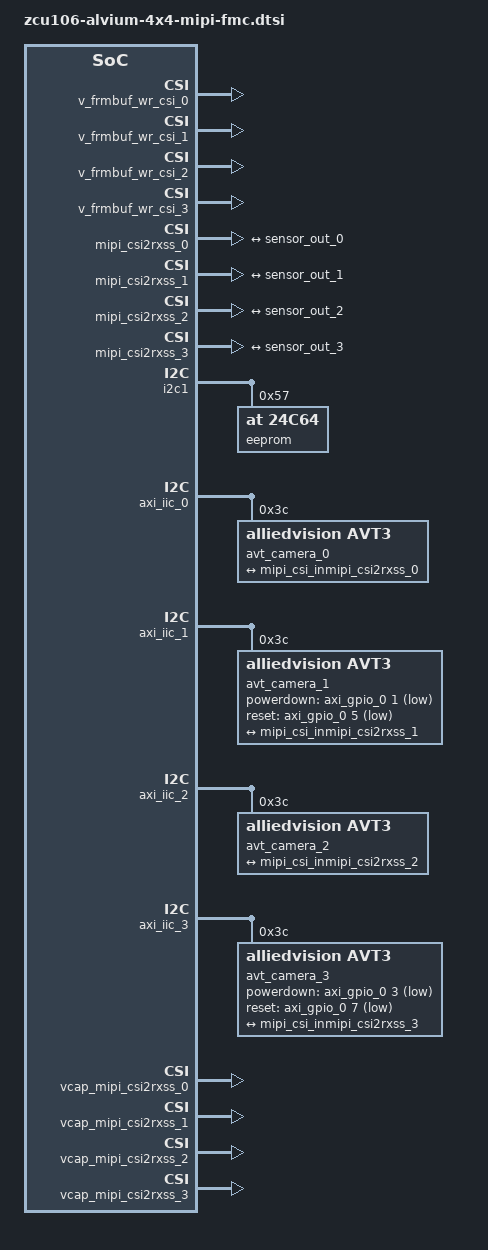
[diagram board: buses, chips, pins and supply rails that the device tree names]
#include <dt-bindings/gpio/gpio.h>
#include <dt-bindings/media/xilinx-vip.h>

/*
//dt-bindings/media/xilinx-vip.h
#define XVIP_VF_YUV_422			0
#define XVIP_VF_YUV_444			1
#define XVIP_VF_RBG				2
#define XVIP_VF_YUV_420			3
#define XVIP_VF_YUVA_422		4
#define XVIP_VF_YUVA_444		5
#define XVIP_VF_RGBA			6
#define XVIP_VF_YUVA_420		7
#define XVIP_VF_YUVD_422		8
#define XVIP_VF_YUVD_444		9
#define XVIP_VF_RGBD			10
#define XVIP_VF_YUVD_420		11
#define XVIP_VF_MONO_SENSOR		12
#define XVIP_VF_CUSTOM2			13
#define XVIP_VF_CUSTOM3			14
#define XVIP_VF_CUSTOM4			15
#define XVIP_VF_VUY_422			16
#define XVIP_VF_BGRX			17
#define XVIP_VF_YUVX			18
#define XVIP_VF_XBGR			19
#define XVIP_VF_Y_GREY			20
#define XVIP_VF_XRGB			21
*/

/* MIPI CSI-2 Data Types from spec */
#define XCSI_DT_YUV4228B	0x1e
#define XCSI_DT_YUV42210B	0x1f
#define XCSI_DT_RGB444		0x20
#define XCSI_DT_RGB555		0x21
#define XCSI_DT_RGB565		0x22
#define XCSI_DT_RGB666		0x23
#define XCSI_DT_RGB888		0x24
#define XCSI_DT_RAW6		0x28
#define XCSI_DT_RAW7		0x29
#define XCSI_DT_RAW8		0x2a
#define XCSI_DT_RAW10		0x2b
#define XCSI_DT_RAW12		0x2c
#define XCSI_DT_RAW14		0x2d
#define XCSI_DT_RAW16		0x2e
#define XCSI_DT_RAW20		0x2f

/*
&mipi_csi2_rx_v_frmbuf_wr_0 {
	clock-names = "ap_clk";
	clocks = <&misc_clk_0>;
};
*/
/*
/delete-node/ &mipi_csi_port0mipi_csi2rxss_0;
/delete-node/ &mipi_csi_port1mipi_csi2rxss_0;
/delete-node/ &mipi_csi_port0mipi_csi2rxss_1;
/delete-node/ &mipi_csi_port1mipi_csi2rxss_1;
/delete-node/ &mipi_csi_port0mipi_csi2rxss_2;
/delete-node/ &mipi_csi_port1mipi_csi2rxss_2;
/delete-node/ &mipi_csi_port0mipi_csi2rxss_3;
/delete-node/ &mipi_csi_port1mipi_csi2rxss_3;
*/


&mipi_csi_port0mipi_csi2rxss_0 {
	/delete-property/ xlnx,cfa-pattern;
};
&mipi_csi_port1mipi_csi2rxss_0 {
     /delete-property/ xlnx,cfa-pattern;
};

&mipi_csi_port0mipi_csi2rxss_1 {
	/delete-property/ xlnx,cfa-pattern;
};

&mipi_csi_port1mipi_csi2rxss_1 {
	/delete-property/ xlnx,cfa-pattern;
};

&mipi_csi_port0mipi_csi2rxss_2 {
	/delete-property/ xlnx,cfa-pattern;
};

&mipi_csi_port1mipi_csi2rxss_2 {
	/delete-property/ xlnx,cfa-pattern;
};

&mipi_csi_port0mipi_csi2rxss_3 {
	/delete-node/ xlnx,cfa-pattern;
};

&mipi_csi_port1mipi_csi2rxss_3 {
	/delete-node/ xlnx,cfa-pattern;
};


/*
&mipi_csi2rxss_0 {
    /delete-node/ mipi_csi_port0mipi_csi2rxss_0;
    /delete-node/ mipi_csi_port1mipi_csi2rxss_0;
};

&mipi_csi2rxss_1 {
    /delete-node/ mipi_csi_port0mipi_csi2rxss_1;
    /delete-node/ mipi_csi_port1mipi_csi2rxss_1;
};

&mipi_csi2rxss_2 {
    /delete-node/ mipi_csi_port0mipi_csi2rxss_2;
    /delete-node/ mipi_csi_port1mipi_csi2rxss_2;
};

&mipi_csi2rxss_3 {
    /delete-node/ mipi_csi_port0mipi_csi2rxss_3;
    /delete-node/ mipi_csi_port1mipi_csi2rxss_3;
};
*/

&v_frmbuf_wr_csi_0 {
	xlnx,dma-align = <32>;
	dma-coherent;
	status = "okay";
};

&v_frmbuf_wr_csi_1 {
	xlnx,dma-align = <32>;
	dma-coherent;
	status = "okay";
};

&v_frmbuf_wr_csi_2 {
	xlnx,dma-align = <32>;
	dma-coherent;
	status = "okay";
};

&v_frmbuf_wr_csi_3 {
	xlnx,dma-align = <32>;
	dma-coherent;
	status = "okay";
};

&mipi_csi2rxss_0 {
	xlnx,csi-pxl-format = <XCSI_DT_YUV4228B>;/*<XCSI_DT_YUV4228B>;"RAW8";*/
	status = "okay";
	mipi_csi_portsmipi_csi2rxss_0: ports {
		#address-cells = <1>;
		#size-cells = <0>;
		xlnx,csi-pxl-format = <XCSI_DT_YUV4228B>;
		mipi_csi_port1mipi_csi2rxss_0: port@1 {
			/* Fill cfa-pattern=rggb for raw data types, other fields video-format and video-width user needs to fill */
			reg = <1>;
			/*xlnx,cfa-pattern = "rggb";*/
			xlnx,video-format = <XVIP_VF_YUV_422>;/*<3>; XVIP_VF_RBG<12>;XVIP_VF_MONO_SENSOR*/
			xlnx,csi-pxl-format = <XCSI_DT_YUV4228B>;
			xlnx,video-width = <8>;
			direction = "output";
//			mipi_csirx_outmipi_csi2rxss_0: endpoint {
//				remote-endpoint = <&v_frmbuf_wr_csi_0mipi_csi2rxss_0>;
//			};
		};
		mipi_csi_port0mipi_csi2rxss_0: port@0 {
			/* Fill cfa-pattern=rggb for raw data types, other fields video-format,video-width user needs to fill */
			/* User need to add something like remote-endpoint=<&out> under the node csiss_in:endpoint */
			reg = <0>;
			/*xlnx,cfa-pattern = "rggb";*/
			xlnx,csi-pxl-format = <XCSI_DT_YUV4228B>;
			xlnx,video-format = <XVIP_VF_YUV_422>;/*<3>; XVIP_VF_RBG<12>;XVIP_VF_MONO_SENSOR*/
			xlnx,video-width = <8>;
			direction = "input";
			mipi_csi_inmipi_csi2rxss_0: endpoint {
				data-lanes = <1 2 3 4>;
				remote-endpoint = <&sensor_out_0>;
			};
		};
	};
};

&mipi_csi2rxss_1 {
	xlnx,csi-pxl-format = <XCSI_DT_YUV4228B>;
	status = "okay";
	mipi_csi_portsmipi_csi2rxss_1: ports {
		#address-cells = <1>;
		#size-cells = <0>;
		xlnx,csi-pxl-format = <XCSI_DT_YUV4228B>;
		mipi_csi_port1mipi_csi2rxss_1: port@1 {
			/* Fill cfa-pattern=rggb for raw data types, other fields video-format and video-width user needs to fill */
			reg = <1>;
			/*xlnx,cfa-pattern = "rggb";*/
			xlnx,csi-pxl-format = <XCSI_DT_YUV4228B>;
			xlnx,video-format = <0>; /*<XVIP_VF_YUV_422>;*//*<3>; XVIP_VF_RBG<12>;XVIP_VF_MONO_SENSOR*/
			xlnx,video-width = <8>;
			direction = "output";
//			mipi_csirx_outmipi_csi2rxss_1: endpoint {
//				remote-endpoint = <&v_frmbuf_wr_csi_1mipi_csi2rxss_1>;
//			};
		};
		mipi_csi_port0mipi_csi2rxss_1: port@0 {
			/* Fill cfa-pattern=rggb for raw data types, other fields video-format,video-width user needs to fill */
			/* User need to add something like remote-endpoint=<&out> under the node csiss_in:endpoint */
			reg = <0>;
			/*xlnx,cfa-pattern = "rggb";*/
			xlnx,video-format = <XVIP_VF_YUV_422>;/*<3>; XVIP_VF_RBG<12>;XVIP_VF_MONO_SENSOR*/
			xlnx,video-width = <8>;
			xlnx,csi-pxl-format = <XCSI_DT_YUV4228B>;
			direction = "input";
			mipi_csi_inmipi_csi2rxss_1: endpoint {
				data-lanes = <1 2 3 4>;
				remote-endpoint = <&sensor_out_1>;
			};
		};
	};
};

&mipi_csi2rxss_2 {
	xlnx,csi-pxl-format = <XCSI_DT_YUV4228B>;/*<XCSI_DT_RGB888>;"RAW8";*/
	status = "okay";
	mipi_csi_portsmipi_csi2rxss_2: ports {
		#address-cells = <1>;
		#size-cells = <0>;
		xlnx,csi-pxl-format = <XCSI_DT_YUV4228B>;
		mipi_csi_port1mipi_csi2rxss_2: port@1 {
			/* Fill cfa-pattern=rggb for raw data types, other fields video-format and video-width user needs to fill */
			reg = <1>;
			/*xlnx,cfa-pattern = "rggb";*/
			xlnx,video-format = <XVIP_VF_YUV_422>;/*<3>; XVIP_VF_RBG<12>;XVIP_VF_MONO_SENSOR*/
			xlnx,csi-pxl-format = <XCSI_DT_YUV4228B>;
			xlnx,video-width = <8>;
			direction = "output";
//			mipi_csirx_outmipi_csi2rxss_2: endpoint {
//				remote-endpoint = <&v_frmbuf_wr_csi_0mipi_csi2rxss_0>;
//			};
		};
		mipi_csi_port0mipi_csi2rxss_2: port@0 {
			/* Fill cfa-pattern=rggb for raw data types, other fields video-format,video-width user needs to fill */
			/* User need to add something like remote-endpoint=<&out> under the node csiss_in:endpoint */
			reg = <0>;
			/*xlnx,cfa-pattern = "rggb";*/
			xlnx,csi-pxl-format = <XCSI_DT_YUV4228B>;
			xlnx,video-format = <XVIP_VF_YUV_422>;/*<3>; XVIP_VF_RBG<12>;XVIP_VF_MONO_SENSOR*/
			xlnx,video-width = <8>;
			direction = "input";
			mipi_csi_inmipi_csi2rxss_2: endpoint {
				data-lanes = <1 2 3 4>;
				remote-endpoint = <&sensor_out_2>;
			};
		};
	};
};

&mipi_csi2rxss_3 {
	xlnx,csi-pxl-format = <XCSI_DT_YUV4228B>;/*<XCSI_DT_YUV4228B>;"RAW8";*/
	status = "okay";
	mipi_csi_portsmipi_csi2rxss_3: ports {
		#address-cells = <1>;
		#size-cells = <0>;
		xlnx,csi-pxl-format = <XCSI_DT_YUV4228B>;
		mipi_csi_port1mipi_csi2rxss_3: port@1 {
			/* Fill cfa-pattern=rggb for raw data types, other fields video-format and video-width user needs to fill */
			reg = <1>;
			/*xlnx,cfa-pattern = "rggb";*/
			xlnx,csi-pxl-format = <XCSI_DT_YUV4228B>;
			xlnx,video-format = <XVIP_VF_YUV_422>;/*<3>; XVIP_VF_RBG<12>;XVIP_VF_MONO_SENSOR*/
			xlnx,video-width = <8>;
			direction = "output";
//			mipi_csirx_outmipi_csi2rxss_1: endpoint {
//				remote-endpoint = <&v_frmbuf_wr_csi_1mipi_csi2rxss_1>;
//			};
		};
		mipi_csi_port0mipi_csi2rxss_3: port@0 {
			/* Fill cfa-pattern=rggb for raw data types, other fields video-format,video-width user needs to fill */
			/* User need to add something like remote-endpoint=<&out> under the node csiss_in:endpoint */
			reg = <0>;
			/*xlnx,cfa-pattern = "rggb";*/
			xlnx,video-format = <XVIP_VF_YUV_422>;/*<3>; XVIP_VF_Y_GREY XVIP_VF_RBG<12>;XVIP_VF_MONO_SENSOR*/
			xlnx,video-width = <8>;
			xlnx,csi-pxl-format = <XCSI_DT_YUV4228B>;
			direction = "input";
			mipi_csi_inmipi_csi2rxss_3: endpoint {
				data-lanes = <1 2 3 4>;
				remote-endpoint = <&sensor_out_3>;
			};
		};
	};
};

&i2c1 {
	i2cswitch@75 {
		i2c@0 {
			eeprom@57 { /* HPC0_IIC */
				compatible = "at,24c64";
				reg = <0x57>;
			};
		};
	};
};

&axi_iic_0 {
	//clocks = <&vid_s_axi_clk>;

	avt_camera_0@3c {
		compatible = "alliedvision,avt3"; /*"alliedvision,avt_csi2";*/

		reg = <0x3c>;
		csi_id = <0>;

		/* powerdown-gpios = <&axi_gpio_0 0 GPIO_ACTIVE_LOW>;
		reset-gpios = <&axi_gpio_0 4 GPIO_ACTIVE_LOW>; */
		
		bcrm_wait_timeout = <5111>; /*<4000>;*/
		mipi_csi;
		status = "okay";

		streamon_delay = <100>; 
		x_force_reset_on_init;
		
		avt-ignore-yuv420_8_leg_avail;
		avt-ignore-yuv420_8_avail;
		avt-ignore-yuv420_10_avail;
		avt-ignore-yuv420_8_csps_avail;
		avt-ignore-yuv420_10_csps_avail;
		x_avt-ignore-yuv422_8_avail;
		avt-ignore-yuv422_10_avail;
		avt-ignore-rgb888_avail;
		avt-ignore-rgb666_avail;
		avt-ignore-rgb565_avail;
		avt-ignore-rgb555_avail;
		avt-ignore-rgb444_avail;
		avt-ignore-raw6_avail;
		avt-ignore-raw7_avail;
		avt-ignore-raw8_avail;
		avt-ignore-raw10_avail;
		avt-ignore-raw12_avail;
		avt-ignore-raw14_avail;

		port {
			sensor_out_0: endpoint {
				remote-endpoint = <&mipi_csi_inmipi_csi2rxss_0>;
				data-lanes = <1 2 3 4>;
				clock-lanes = <0>;
				link-frequencies = /bits/ 64 <750000000>;
			};
		};
	 };

	 cam_ina_0: power_sensor0@44 {
		 compatible = "ti,ina260";
		 status = "disabled";
		 reg = <0x44>;
		 shunt-resistor = <0x1194>;
	 };

	 proximity@29 {
		compatible = "st,vl53l0x";
		reg = <0x29>;
		status = "disabled";
		/* 	interrupt-parent = <&gpio>;
		interrupts = <23 IRQ_TYPE_EDGE_FALLING>;*/
	};

};

&axi_iic_1 {
	//clocks = <&vid_s_axi_clk>;

	avt_camera_1@3c {
		compatible = "alliedvision,avt3";
		reg = <0x3c>;
		csi_id = <1>;

		powerdown-gpios = <&axi_gpio_0 1 GPIO_ACTIVE_LOW>;
		reset-gpios = <&axi_gpio_0 5 GPIO_ACTIVE_LOW>;

		bcrm_wait_timeout = <5112>;
		mipi_csi;
		status = "okay";

		streamon_delay = <100>; 
		x_force_reset_on_init;
		
		avt-ignore-yuv420_8_leg_avail;
		avt-ignore-yuv420_8_avail;
		avt-ignore-yuv420_10_avail;
		avt-ignore-yuv420_8_csps_avail;
		avt-ignore-yuv420_10_csps_avail;
		x_avt-ignore-yuv422_8_avail;
		avt-ignore-yuv422_10_avail;
		avt-ignore-rgb888_avail;
		avt-ignore-rgb666_avail;
		avt-ignore-rgb565_avail;
		avt-ignore-rgb555_avail;
		avt-ignore-rgb444_avail;
		avt-ignore-raw6_avail;
		avt-ignore-raw7_avail;
		avt-ignore-raw8_avail;
		avt-ignore-raw10_avail;
		avt-ignore-raw12_avail;
		avt-ignore-raw14_avail;

		port {
			sensor_out_1: endpoint {
				remote-endpoint = <&mipi_csi_inmipi_csi2rxss_1>;
				data-lanes = <1 2 3 4>;
				clock-lanes = <0>;
				link-frequencies = /bits/ 64 <750000000>;
			};
		};
	 };

	 cam_ina_1: power_sensor1@44 {
		 compatible = "ti,ina260";
		 status = "disabled";
		 reg = <0x44>;
		 shunt-resistor = <0x1194>;
	 };

};

&axi_iic_2 {
	status = "okay";

	avt_camera_2@3c {
		compatible = "alliedvision,avt3";
		reg = <0x3c>;
		csi_id = <2>;

		/*powerdown-gpios = <&axi_gpio_0 2 GPIO_ACTIVE_LOW>;
		reset-gpios = <&axi_gpio_0 6 GPIO_ACTIVE_LOW>;*/

		bcrm_wait_timeout = <5112>;

		mipi_csi;
		status = "okay";

		streamon_delay = <100>; 
		x_force_reset_on_init;
		
		avt-ignore-yuv420_8_leg_avail;
		avt-ignore-yuv420_8_avail;
		avt-ignore-yuv420_10_avail;
		avt-ignore-yuv420_8_csps_avail;
		avt-ignore-yuv420_10_csps_avail;
		x_avt-ignore-yuv422_8_avail;
		avt-ignore-yuv422_10_avail;
		avt-ignore-rgb888_avail;
		avt-ignore-rgb666_avail;
		avt-ignore-rgb565_avail;
		avt-ignore-rgb555_avail;
		avt-ignore-rgb444_avail;
		avt-ignore-raw6_avail;
		avt-ignore-raw7_avail;
		avt-ignore-raw8_avail;
		avt-ignore-raw10_avail;
		avt-ignore-raw12_avail;
		avt-ignore-raw14_avail;

		port {
			sensor_out_2: endpoint {
				remote-endpoint = <&mipi_csi_inmipi_csi2rxss_2>;
				data-lanes = <1 2 3 4>;
				clock-lanes = <0>;
				link-frequencies = /bits/ 64 <750000000>;
			};
		};
	 };

	 cam_ina_2: power_sensor2@44 {
		 compatible = "ti,ina260";
		 status = "disabled";
		 reg = <0x44>;
		 shunt-resistor = <0x1194>;
	 };
};

&axi_iic_3 {

	avt_camera_3@3c {
		compatible = "alliedvision,avt3";
		reg = <0x3c>;
		csi_id = <3>;

		powerdown-gpios = <&axi_gpio_0 3 GPIO_ACTIVE_LOW>;
		reset-gpios = <&axi_gpio_0 7 GPIO_ACTIVE_LOW>;

		bcrm_wait_timeout = <5113>;
		mipi_csi;
		status = "okay";

		streamon_delay = <100>; 
		x_force_reset_on_init;
		
		avt-ignore-yuv420_8_leg_avail;
		avt-ignore-yuv420_8_avail;
		avt-ignore-yuv420_10_avail;
		avt-ignore-yuv420_8_csps_avail;
		avt-ignore-yuv420_10_csps_avail;
		x_avt-ignore-yuv422_8_avail;
		avt-ignore-yuv422_10_avail;
		avt-ignore-rgb888_avail;
		avt-ignore-rgb666_avail;
		avt-ignore-rgb565_avail;
		avt-ignore-rgb555_avail;
		avt-ignore-rgb444_avail;
		avt-ignore-raw6_avail;
		avt-ignore-raw7_avail;
		avt-ignore-raw8_avail;
		avt-ignore-raw10_avail;
		avt-ignore-raw12_avail;
		avt-ignore-raw14_avail;

		port {
			sensor_out_3: endpoint {
				remote-endpoint = <&mipi_csi_inmipi_csi2rxss_3>;
				data-lanes = <1 2 3 4>;
				clock-lanes = <0>;
				link-frequencies = /bits/ 64 <750000000>;
			};
		};
	 };

	 cam_ina_3: power_sensor3@44 {
		 compatible = "ti,ina260";
		 status = "disabled";
		 reg = <0x44>;
		 shunt-resistor = <0x1194>;
	 };
};

&amba_pl {
        vcap_mipi_csi2rxss_0 {
	        status = "okay";
			dma-coherent;
        };

        vcap_mipi_csi2rxss_1 {
	        status = "okay";
			dma-coherent;
        };

        vcap_mipi_csi2rxss_2 {
	        status = "okay";
			dma-coherent;
        };

        vcap_mipi_csi2rxss_3 {
	        status = "okay";
			dma-coherent;
        };

};

